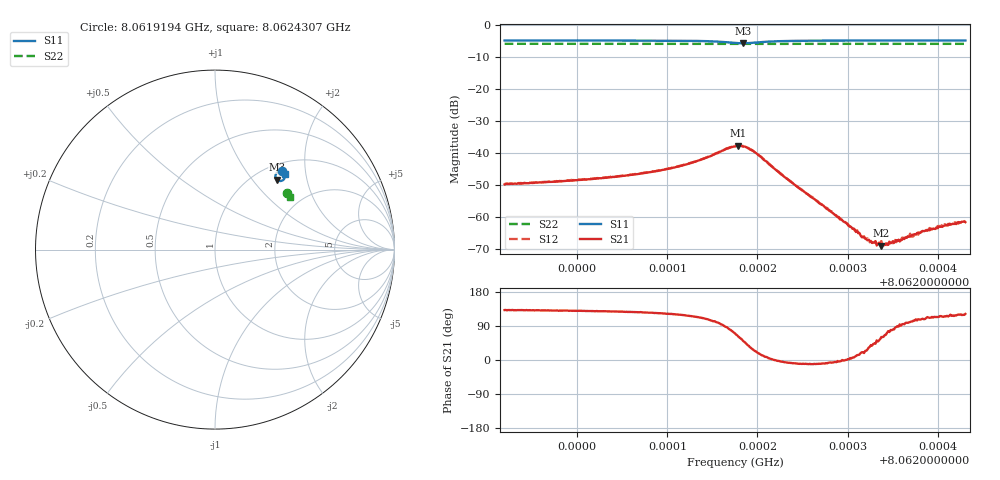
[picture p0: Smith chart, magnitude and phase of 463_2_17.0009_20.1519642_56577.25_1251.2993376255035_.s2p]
#  HZ  S  RI  R  50.00
! Rohde & Schwarz Vector Network Analyzer
! Rohde-Schwarz,ZNB20-2Port,1311601062101988,3.16
! Created: UTC 3/20/2024, 11:12:51 PM
! freq[Hz]  re:S11  im:S11  re:S21  im:S21  re:S12  im:S12  re:S22  im:S22
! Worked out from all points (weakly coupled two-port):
!   401 points, 8.0619194 GHz to 8.0624307 GHz, reference 50 ohm
!   highest |S21| = -37.68 dB at 8.0621789 GHz (marker M1); lowest = -69.0 dB at 8.0623374 GHz (marker M2)
!   lowest |S11| = -5.7 dB at 8.062184 GHz (marker M3), VSWR 3.17, Z = 62.8 + j67 ohm
!   |S11| at or under -10 dB: nowhere
!   |S22| runs from -5.9 to -5.8 dB; largest |S21 - S12| = 0.00092
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8.06191941e9  0.3718 0.44  -0.00215 0.0024  -0.00206 0.00256  0.4009 0.316
8.06200505e9  0.3782 0.434  -0.00242 0.00293  -0.00226 0.00312  0.404 0.3116
8.0620549e9  0.3826 0.4292  -0.0027 0.00356  -0.0025 0.00373  0.406 0.3091
8.06209069e9  0.3862 0.4239  -0.00295 0.00443  -0.00267 0.00459  0.4072 0.3071
8.06213032e9  0.3898 0.4122  -0.00301 0.0066  -0.00263 0.00684  0.4085 0.3047
8.06217506e9  0.3623 0.3822  0.00426 0.0119  0.0051 0.0119  0.4084 0.3016
8.06217889e9  0.3545 0.3837  0.00621 0.0115  0.00673 0.0111  0.4083 0.3016
8.062184e9  0.3449 0.3893  0.00797 0.00969  0.00868 0.00953  0.408 0.3017
8.06219807e9  0.3371 0.4149  0.00923 0.00393  0.00949 0.00337  0.4086 0.3023
8.06222746e9  0.3576 0.4349  0.00449 -0.000361  0.00451 -0.000638  0.4108 0.3015
8.0622607e9  0.3707 0.4348  0.00196 -0.000377  0.002 -0.000482  0.4124 0.2996
8.06231694e9  0.3808 0.4305  0.000451 0.00017  0.00046 0.000139  0.4146 0.2967
8.06232589e9  0.382 0.43  0.00032 0.000263  0.000369 0.000203  0.4151 0.2962
8.06233739e9  0.3832 0.4291  0.000174 0.00031  0.000255 0.000334  0.4154 0.2957
8.06234123e9  0.3836 0.4288  0.000147 0.000331  0.000185 0.000315  0.4156 0.2955
8.06234634e9  0.3842 0.4284  0.000115 0.000394  0.000117 0.000382  0.4158 0.2952
8.06235656e9  0.3851 0.4278  1.46e-05 0.00044  4.52e-05 0.000416  0.4162 0.2946
8.06236679e9  0.3861 0.4271  -6.99e-05 0.000495  -8.17e-05 0.000496  0.4165 0.294
8.06237318e9  0.3868 0.4267  -0.00013 0.000515  -7.92e-05 0.000493  0.4166 0.2938
8.06238469e9  0.3876 0.4259  -0.00018 0.000569  -0.000178 0.000573  0.4171 0.2932
8.06240258e9  0.389 0.4248  -0.000306 0.000628  -0.000215 0.000688  0.4178 0.2922
8.0624307e9  0.3911 0.4232  -0.000434 0.000704  -0.000389 0.000772  0.4188 0.2908
